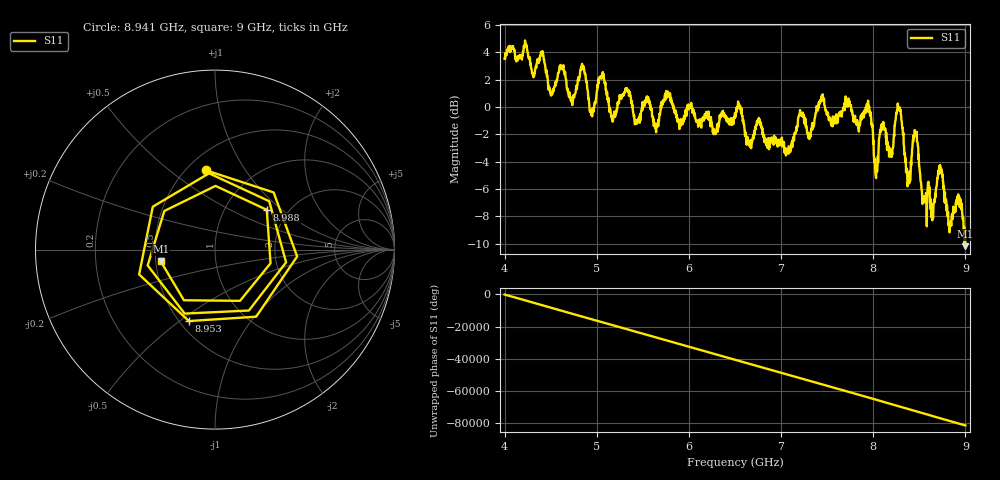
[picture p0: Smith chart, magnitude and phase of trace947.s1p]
! Created with skrf 1.8.0 (http://scikit-rf.org).
# Hz S RI R 50.0
!freq ReS11 ImS11
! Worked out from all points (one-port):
!   1601 points, 4 GHz to 9 GHz, reference 50 ohm
!   lowest |S11| = -10.2 dB at 9 GHz (marker M1), VSWR 1.90, Z = 26.6 - j3.85 ohm
!   |S11| at or under -10 dB: 8.999032 GHz to end of sweep
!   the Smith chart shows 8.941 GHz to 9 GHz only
!   S11 on the Smith chart (normalised r, x): 8.941 GHz: 0.62, +0.68; 8.953 GHz: 0.56, -0.54; 8.988 GHz: 1.56, +0.80; 9 GHz: 0.53, -0.08
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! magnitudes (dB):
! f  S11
! 4 GHz  3.5
! 4.406 GHz  3.9
! 4.503 GHz  0.8
! 4.625 GHz  2.9
! 4.731 GHz  0.6
! 4.853 GHz  2.8
! 4.947 GHz  -0.3
! 5.05 GHz  2.1
! 5.162 GHz  -0.6
! 5.25 GHz  0.9
! 5.875 GHz  -0.8
! 6.5 GHz  -0.4
! 7.125 GHz  -2.4
! 7.441 GHz  0.8
! 7.75 GHz  0.1
! 7.953 GHz  -0.1
! 8.031 GHz  -5.2
! 8.278 GHz  -0.2
! 8.375 GHz  -5.6
! 8.456 GHz  -2.0
! 8.556 GHz  -7.0
! 8.647 GHz  -8.0
! 8.728 GHz  -4.4
! 8.828 GHz  -9.2
! 8.941 GHz  -7.1
! 8.953 GHz  -7.5
! 8.988 GHz  -8.8
! 9 GHz  -10.2
